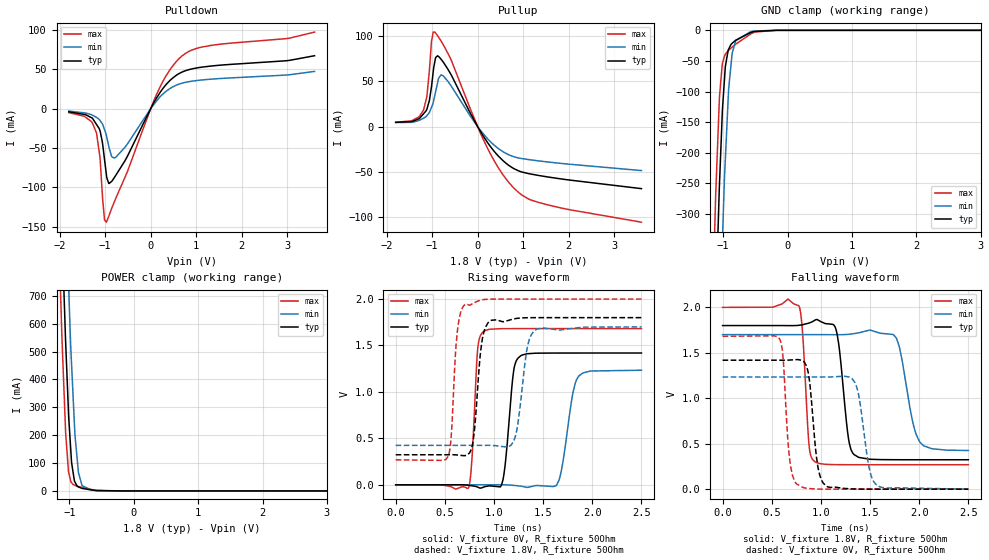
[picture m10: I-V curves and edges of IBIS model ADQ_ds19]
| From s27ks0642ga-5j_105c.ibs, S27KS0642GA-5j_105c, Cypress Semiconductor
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[Model]   ADQ_ds19
Model_type   I/O
Polarity   Non-Inverting
Enable   Active-High
Vinl = 0.54
Vinh = 1.26
Vmeas = 0.9
Vref = 0.9
Cref = 15pF
|   typ   min   max
C_comp   1.03pF   1.01pF   1.05pF
[Voltage Range]   1.8   1.7   2
[Temperature Range]   25   105   -40
[Pullup Reference]   1.8   1.7   2
[Pulldown Reference]   0   0   0
[Power Clamp Reference]   1.8   1.7   2
[GND Clamp Reference]   0   0   0
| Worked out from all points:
|   slope of the pulldown table from 0 to 0.27 V, typ, clamps not added: 10.5 ohm
|   slope of the pullup table from 0 to 0.27 V, typ, clamps not added: 12.6 ohm
|   falling waveform, V_fixture 1.8V, R_fixture 50Ohm: 20-80 % time 81.3ps typ, 127ps min, 52.3ps max; typ from 1.8 V to 0.324 V
|   rising waveform, V_fixture 0V, R_fixture 50Ohm: 20-80 % time 69ps typ, 101ps min, 46.8ps max; typ from 0 V to 1.42 V
|   rising waveform, V_fixture 1.8V, R_fixture 50Ohm: 20-80 % time 68.6ps typ, 87.4ps min, 56.9ps max; typ from 0.324 V to 1.8 V
|   falling waveform, V_fixture 0V, R_fixture 50Ohm: 20-80 % time 74.3ps typ, 96.9ps min, 59.5ps max; typ from 1.42 V to 0 V
[Pulldown]
|   Voltage   I(typ)   I(min)   I(max)
-1.8V     -4.128mA   -3.269mA   -5.132mA
-1.46V    -7.456mA   -5.469mA   -9.828mA
-1.192V   -20.16mA   -11.24mA   -30.97mA
-1.114V   -28.49mA   -15.22mA   -62.86mA
-1.016V   -64.43mA   -26.74mA   -141.1mA
-976mV    -83.23mA   -33.72mA   -144.2mA
-859.9mV  -92.6mA    -60.81mA   -127.1mA
-762mV    -84.22mA   -61.44mA   -113.1mA
114mV     12.03mA    8.506mA    16.12mA
628mV     44.55mA    31.12mA    63.69mA
1.118V    52.49mA    36.21mA    77.94mA
3.6V      67.03mA    47.12mA    97.01mA
[GND Clamp]
|   Voltage   I(typ)   I(min)   I(max)
-1.8V     -3.484A    -3.741A    -3.305A
-1.13V    -504.5mA   -768.5mA   -321.5mA
-1.116V   -451.4mA   -715.2mA   -269.1mA
-1.06V    -260.4mA   -503.8mA   -116.8mA
-1.01V    -127.4mA   -338.7mA   -53.63mA
-966.6mV  -59.75mA   -211.8mA   -39.24mA
-914.3mV  -30.68mA   -95.36mA   -32.55mA
-859.9mV  -21.09mA   -37.41mA   -27.4mA
-804.6mV  -16.14mA   -16.96mA   -22.61mA
-574.2mV  -3.616mA   -2.267mA   -5.998mA
-178.2mV  -240.2nA   -348.5nA   0A
3.6V      0A         0A         0A
[Pullup]
|   Voltage   I(typ)   I(min)   I(max)
-1.8V     4.739mA    4.549mA    4.854mA
-1.46V    5.536mA    4.742mA    6.295mA
-1.19V    14.14mA    9.224mA    18.08mA
-1.114V   19.4mA     12.23mA    33.53mA
-1.06V    28.85mA    15.59mA    61.89mA
-1.014V   43.91mA    21.25mA    94.14mA
-940mV    71.94mA    34.72mA    104.7mA
-859.9mV  77.71mA    53.18mA    99.27mA
-754.5mV  71.39mA    56.18mA    90.64mA
246.8mV   -19.66mA   -14.96mA   -26.82mA
902mV     -49.03mA   -34.73mA   -72.97mA
3.6V      -68.66mA   -48.66mA   -105.8mA
[POWER Clamp]
|   Voltage   I(typ)   I(min)   I(max)
-1.8V     6.849A     7.358A     6.488A
-1.159V   1.276A     1.815A     874.7mA
-1.13V    1.042A     1.585A     657.1mA
-1.116V   933.9mA    1.477A     550.1mA
-1.058V   531.1mA    1.039A     206.8mA
-1.01V    261.2mA    718.8mA    65.22mA
-966.6mV  103.1mA    455.5mA    29.38mA
-941.5mV  64.52mA    333.3mA    22.99mA
-914.3mV  32.11mA    202.8mA    19.88mA
-859.9mV  14.28mA    66.37mA    15.82mA
-650.8mV  3.3mA      2.561mA    5.019mA
3.6V      0A         0A         0A
[Ramp]
R_load = 50
|   typ   min   max
dV/dt_r 8.5138E-01/6.8904E-11   7.4024E-01/1.0126E-10   1.0092E+00/4.6810E-11
dV/dt_f 8.8587E-01/8.1153E-11   7.6473E-01/1.2584E-10   1.0387E+00/5.2282E-11
[Falling Waveform]
V_fixture = 1.8V
V_fixture_min = 1.7V
V_fixture_max = 2V
R_fixture = 50Ohm
C_fixture = 0F
|   Time   V(typ)   V(min)   V(max)
0s        1.8V       1.7V       2V
775ps     1.803V     1.7V       2.019V
815ps     1.809V     1.7V       1.703V
880ps     1.828V     1.7V       480mV
940ps     1.86V      1.7V       301.5mV
1.155ns   1.753V     1.699V     269.8mV
1.34ns    378.8mV    1.712V     268.9mV
1.765ns   324mV      1.667V     268.8mV
2.01ns    323.6mV    514.6mV    268.8mV
2.5ns     323.6mV    425.5mV    268.8mV
[Rising Waveform]
V_fixture = 0V
V_fixture_min = 0V
V_fixture_max = 0V
R_fixture = 50Ohm
C_fixture = 0F
|   Time   V(typ)   V(min)   V(max)
0s        0V         0V         0V
740ps     -5.265mV   0V         -34.01mV
775ps     -10.52mV   615.2nV    268.8mV
835ps     -25.01mV   812.1nV    1.473V
900ps     -22.2mV    -25.28uV   1.656V
1.09ns    47.51mV    455.6uV    1.681V
1.245ns   1.365V     -11.11mV   1.682V
1.64ns    1.419V     3.345mV    1.682V
1.865ns   1.419V     1.174V     1.682V
2.5ns     1.419V     1.234V     1.682V
[Rising Waveform]
V_fixture = 1.8V
V_fixture_min = 1.7V
V_fixture_max = 2V
R_fixture = 50Ohm
C_fixture = 0F
|   Time   V(typ)   V(min)   V(max)
0s        323.6mV    424.6mV    268.8mV
535ps     323.7mV    424.6mV    308.9mV
625ps     321.2mV    424.6mV    1.631V
705ps     314.5mV    424.6mV    1.94V
780ps     426.7mV    424.6mV    1.95V
865ps     1.447V     424.6mV    1.988V
955ps     1.76V      425mV      1.999V
1.205ns   1.787V     482mV      2V
1.41ns    1.8V       1.658V     2V
2.5ns     1.8V       1.7V       2V
[Falling Waveform]
|Gnd
V_fixture = 0V
V_fixture_min = 0V
V_fixture_max = 0V
R_fixture = 50Ohm
C_fixture = 0F
|   Time   V(typ)   V(min)   V(max)
0s        1.419V     1.234V     1.682V
580ps     1.419V     1.234V     1.653V
680ps     1.42V      1.234V     350.8mV
760ps     1.425V     1.234V     51.78mV
865ps     1.313V     1.234V     9.378mV
970ps     244.1mV    1.234V     1.478mV
1.065ns   27.8mV     1.234V     258.4uV
1.35ns    1.889mV    1.164V     7.416uV
1.56ns    103.6uV    52.73mV    949.4nV
2.5ns     0V         14.84uV    0V
